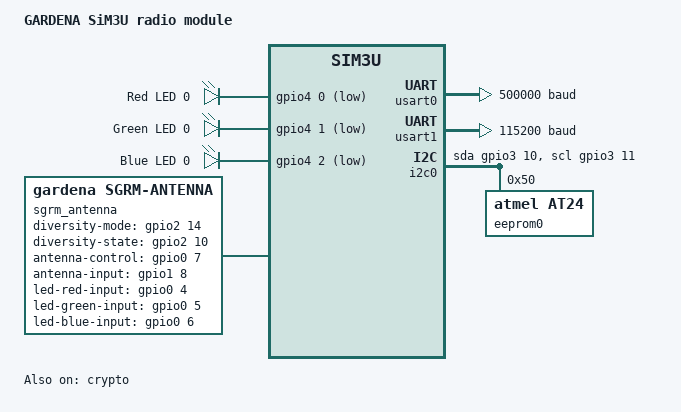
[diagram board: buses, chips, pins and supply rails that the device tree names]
/*
 * Copyright (c) 2024 GARDENA GmbH
 *
 * SPDX-License-Identifier: Apache-2.0
 */

/dts-v1/;
#include <silabs/sim3u167.dtsi>
#include <zephyr/dt-bindings/gpio/silabs-si32-hd-gpio.h>
#include "sgrm-pinctrl.dtsi"

/ {
	model = "GARDENA SiM3U radio module";
	compatible = "gardena,sgrm-sim3u167", "silabs,sim3u167","silabs,sim3u";

	chosen {
		zephyr,console = &usart1;
		zephyr,flash = &flash0;
		zephyr,shell-uart = &usart1;
		zephyr,sram = &sram0;
		zephyr,ppp-uart = &usart0;
	};

	leds {
		compatible = "gpio-leds";
		status = "okay";

		led_red: led_red {
			gpios = <&gpio4 0 (GPIO_ACTIVE_LOW | SI32_GPIO_DS_ENABLE_CURRENT_LIMIT)>;
			label = "Red LED 0";
		};
		led_green: led_green {
			gpios = <&gpio4 1 (GPIO_ACTIVE_LOW | SI32_GPIO_DS_ENABLE_CURRENT_LIMIT)>;
			label = "Green LED 0";
		};
		led_blue: led_blue {
			gpios = <&gpio4 2 (GPIO_ACTIVE_LOW | SI32_GPIO_DS_ENABLE_CURRENT_LIMIT)>;
			label = "Blue LED 0";
		};
	};

	sgrm_antenna: sgrm_antenna {
		compatible = "gardena,sgrm-antenna";
		/* source for diversity control: 0=MCU, 1=TRX */
		diversity-mode-gpios = <&gpio2 14 GPIO_ACTIVE_HIGH>;
		/* diversity state (only relevant if mode is 0 (MCU)) */
		diversity-state-gpios = <&gpio2 10 GPIO_ACTIVE_HIGH>;
		/* selection of internal/external antenna (Art. 19005 only; ANT_INT_EXT on schematic) */
		antenna-control-gpios = <&gpio0 7 GPIO_ACTIVE_HIGH>;
		/* antenna control signal from Core9G25 to RM (Art. 19000 only; ANT_SELECT on schematic) */
		antenna-input-gpios = <&gpio1 8 GPIO_ACTIVE_HIGH>;

		led-red-input-gpios = <&gpio0 4 GPIO_ACTIVE_HIGH>;
		led-green-input-gpios = <&gpio0 5 GPIO_ACTIVE_HIGH>;
		led-blue-input-gpios = <&gpio0 6 GPIO_ACTIVE_HIGH>;
	};
};

&cpu0 {
	clock-frequency = <76953600>;
};

&pll0 {
	status = "okay";
};

&clk_ahb {
	clocks = <&pll0>;
	status = "okay";
};

&clk_apb {
	divider = <2>;
	status = "okay";
};

&usart0 {
	current-speed = <500000>;
	pinctrl-0 = <&usart0_default>;
	pinctrl-names = "default";
	hw-flow-control;
	status = "okay";
};

&usart1 {
	current-speed = <115200>;
	pinctrl-0 = <&usart1_default>;
	pinctrl-names = "default";
	status = "okay";
};

&gpio0 {
	status = "okay";
};

&gpio1 {
	status = "okay";
};

&gpio2 {
	disable-pullups;
	status = "okay";
};

&gpio3 {
	status = "okay";
};

&gpio4 {
	nchannel-current-limit = <7>;
	pchannel-current-limit = <15>;
	enable-bias;
	low-power-port-mode;
	enable-drivers;
	status = "okay";
};

&i2c0 {
	status = "okay";
	sda-gpios = <&gpio3 10 GPIO_OPEN_DRAIN>;
	scl-gpios = <&gpio3 11 GPIO_OPEN_DRAIN>;

	eeprom0: eeprom@50 {
		compatible = "atmel,at24";
		reg = <0x50>;
		status = "okay";
		size = <DT_SIZE_K(32)>;
		pagesize = <32>;
		address-width = <16>;
		timeout = <5>;
	};
};

&flash0 {
	status = "okay";

	partitions {
		compatible = "fixed-partitions";
		#address-cells = <1>;
		#size-cells = <1>;

		slot0_partition: partition@0 {
			label = "image-0";
			reg = <0x00000000 DT_SIZE_K(192)>;
		};

		storage_partition: partition@30000 {
			label = "storage";
			reg = <0x00030000 DT_SIZE_K(64)>;
		};
	};
};

&dma {
	status = "okay";
	dma-channels = <8>; /* Crypto DMA channels have ID 5, 6, and 7 */
};

&crypto {
	status = "okay";
};
